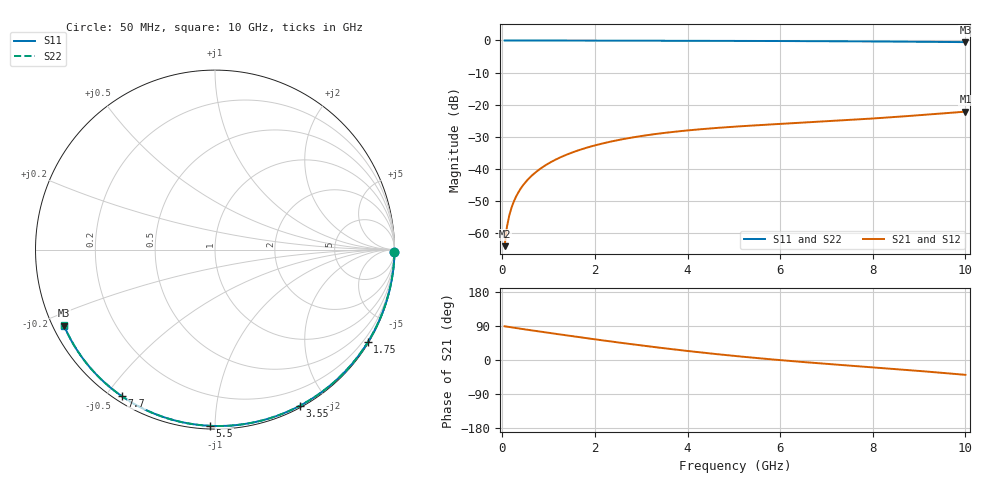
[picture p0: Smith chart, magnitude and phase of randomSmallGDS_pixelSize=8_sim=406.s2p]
! freq	dB(S11)	phase(S11)	dB(S12)	phase(S12)
!  dB(S21)	phase(S21)	dB(S22)	phase(S22)
!S-par simulation data
#  GHz  S  DB  R 50
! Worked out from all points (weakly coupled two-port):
!   200 points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, 50 MHz to 10 GHz, reference 50 ohm
!   highest |S21| = -22.17 dB at 10 GHz (marker M1); lowest = -64.1 dB at 50 MHz (marker M2)
!   lowest |S11| = -0.5 dB at 10 GHz (marker M3), VSWR 33.42, Z = 1.58 - j11.9 ohm
!   |S11| at or under -10 dB: nowhere
!   |S22| runs from -0.5 to 0.0 dB; largest |S21 - S12| = 0
!   S11 on the Smith chart (normalised r, x): 50 MHz: open; 1.75 GHz: 0.03, -3.57; 3.55 GHz: 0.02, -1.68; 5.5 GHz: 0.02, -0.97; 7.7 GHz: 0.02, -0.55; 10 GHz: 0.03, -0.24
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0.05  -0.00 -0.9  -64.07 89.0  -64.07 89.0  -0.00 -0.9
0.1  -0.00 -1.8  -58.06 88.0  -58.06 88.0  -0.00 -1.8
0.15  -0.00 -2.7  -54.54 87.1  -54.54 87.1  -0.00 -2.7
0.2  -0.00 -3.6  -52.05 86.1  -52.05 86.1  -0.00 -3.6
0.25  -0.00 -4.5  -50.12 85.2  -50.12 85.2  -0.00 -4.6
0.35  -0.00 -6.4  -47.23 83.3  -47.23 83.3  -0.00 -6.4
0.5  -0.01 -9.1  -44.17 80.6  -44.17 80.6  -0.01 -9.1
0.7  -0.01 -12.7  -41.30 77.0  -41.30 77.0  -0.01 -12.7
1  -0.02 -18.0  -38.29 71.8  -38.29 71.8  -0.02 -18.0
1.35  -0.03 -24.2  -35.80 65.7  -35.80 65.7  -0.03 -24.2
1.75  -0.04 -31.3  -33.72 58.8  -33.72 58.8  -0.04 -31.3
2.5  -0.06 -44.2  -31.03 46.4  -31.03 46.4  -0.06 -44.2
3.4  -0.08 -59.1  -28.97 32.4  -28.97 32.4  -0.08 -59.2
3.55  -0.09 -61.6  -28.71 30.2  -28.71 30.2  -0.09 -61.6
4.3  -0.11 -73.5  -27.63 19.8  -27.63 19.8  -0.11 -73.5
5.05  -0.14 -84.9  -26.82 10.3  -26.82 10.3  -0.14 -85.0
5.5  -0.15 -91.6  -26.41 5.1  -26.41 5.1  -0.15 -91.6
6.7  -0.22 -108.8  -25.44 -7.3  -25.44 -7.3  -0.22 -108.8
7.7  -0.29 -122.5  -24.59 -16.6  -24.59 -16.6  -0.29 -122.5
8.35  -0.34 -131.2  -23.96 -22.6  -23.96 -22.6  -0.34 -131.3
9.2  -0.43 -142.6  -23.07 -30.9  -23.07 -30.9  -0.43 -142.6
10  -0.52 -153.3  -22.17 -39.1  -22.17 -39.1  -0.52 -153.4
